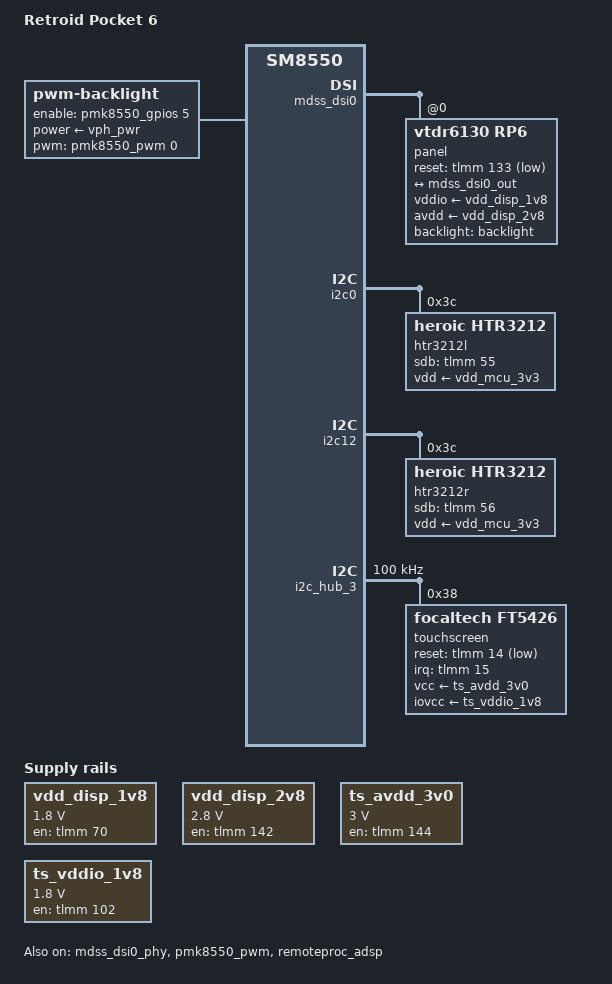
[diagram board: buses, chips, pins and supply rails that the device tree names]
// SPDX-License-Identifier: BSD-3-Clause
/*
 * Copyright (C) 2026-present ROCKNIX (https://github.com/ROCKNIX).
 */

/dts-v1/;

#include "qcs8550-ayn-common.dtsi"

/ {
	model = "Retroid Pocket 6";
	compatible = "retroidpocket,rp6", "qcom,qcs8550", "qcom,sm8550";
	qcom,board-id = <0x1001f 0x00>;
	qcom,msm-id = <0x25b 0x20000>;

	backlight: backlight {
		compatible = "pwm-backlight";
		pwms = <&pmk8550_pwm 0 860000>;
		brightness-levels = <1023 0>;
		num-interpolated-steps = <1023>;
		default-brightness-level = <600>;
		power-supply = <&vph_pwr>;
		enable-gpios = <&pmk8550_gpios 5 GPIO_ACTIVE_HIGH>;
		pinctrl-names = "default";
		pinctrl-0 = <&pwm_backlight_default>;
		status = "okay";
	};

	vdd_disp_1v8: vdd-disp-1v8-regulator {
		compatible = "regulator-fixed";
		regulator-name = "vdd_disp_1v8";

		regulator-min-microvolt = <1800000>;
		regulator-max-microvolt = <1800000>;

		gpio = <&tlmm 70 GPIO_ACTIVE_HIGH>;
		enable-active-high;
	};

	vdd_disp_2v8: vdd-disp-2v8-regulator {
		compatible = "regulator-fixed";
		regulator-name = "vdd_disp_2v8";

		regulator-min-microvolt = <2800000>;
		regulator-max-microvolt = <2800000>;

		gpio = <&tlmm 142 GPIO_ACTIVE_HIGH>;
		enable-active-high;
	};

	ts_avdd_3v0: regulator-ts-avdd-3v0 {
		compatible = "regulator-fixed";
		regulator-name = "ts_avdd_3v0";

		regulator-min-microvolt = <3000000>;
		regulator-max-microvolt = <3000000>;

		gpio = <&tlmm 144 GPIO_ACTIVE_HIGH>;
		enable-active-high;
	};

	ts_vddio_1v8: regulator-ts-vddio-1v8 {
		compatible = "regulator-fixed";
		regulator-name = "ts_vddio_1v8";

		regulator-min-microvolt = <1800000>;
		regulator-max-microvolt = <1800000>;

		gpio = <&tlmm 102 GPIO_ACTIVE_HIGH>;
		enable-active-high;
	};

	multi-ledr1 {
		compatible = "leds-group-multicolor";
		color = <LED_COLOR_ID_RGB>;
		function = "r1";
		leds = <&ledr_r4>, <&ledr_g4>, <&ledr_b4>;
	};

	multi-ledl1 {
		compatible = "leds-group-multicolor";
		color = <LED_COLOR_ID_RGB>;
		function = "l1";
		leds = <&ledl_r4>, <&ledl_g4>, <&ledl_b4>;
	};

	multi-ledr2 {
		compatible = "leds-group-multicolor";
		color = <LED_COLOR_ID_RGB>;
		function = "r2";
		leds = <&ledr_r1>, <&ledr_g1>, <&ledr_b1>;
	};

	multi-ledl2 {
		compatible = "leds-group-multicolor";
		color = <LED_COLOR_ID_RGB>;
		function = "l2";
		leds = <&ledl_r1>, <&ledl_g1>, <&ledl_b1>;
	};

	multi-ledr3 {
		compatible = "leds-group-multicolor";
		color = <LED_COLOR_ID_RGB>;
		function = "r3";
		leds = <&ledr_r2>, <&ledr_g2>, <&ledr_b2>;
	};

	multi-ledl3 {
		compatible = "leds-group-multicolor";
		color = <LED_COLOR_ID_RGB>;
		function = "l3";
		leds = <&ledl_r2>, <&ledl_g2>, <&ledl_b2>;
	};

	multi-ledr4 {
		compatible = "leds-group-multicolor";
		color = <LED_COLOR_ID_RGB>;
		function = "r4";
		leds = <&ledr_r3>, <&ledr_g3>, <&ledr_b3>;
	};

	multi-ledl4 {
		compatible = "leds-group-multicolor";
		color = <LED_COLOR_ID_RGB>;
		function = "l4";
		leds = <&ledl_r3>, <&ledl_g3>, <&ledl_b3>;
	};
};

&gamepad {
	axis-range = <1024>;
};

&{/gpio-keys} {
	pinctrl-0 = <&volume_up_n>, <&paddle_keys_default>;

	key-paddle-left {
		label = "Back Paddle Left";
		debounce-interval = <15>;
		gpios = <&tlmm 57 GPIO_ACTIVE_LOW>;
		linux,code = <BTN_Z>;
	};

	key-paddle-right {
		label = "Back Paddle Right";
		debounce-interval = <15>;
		gpios = <&tlmm 58 GPIO_ACTIVE_LOW>;
		linux,code = <BTN_C>;
	};
};

&tlmm {
	paddle_keys_default: paddle-keys-default-state {
		pins = "gpio57", "gpio58";
		function = "gpio";
		bias-pull-up;
		drive-strength = <2>;
		input-enable;
	};
};

&mdss_dsi0 {
	vdda-supply = <&vreg_l3e_1p2>;
	status = "okay";

	panel@0 {
		reg = <0>;
		compatible = "vtdr6130,rp6";

		pinctrl-0 = <&dsi_p_rst_active>, <&dsi_p_te_active>;
		pinctrl-1 = <&dsi_p_rst_suspend>, <&dsi_p_te_suspend>;
		pinctrl-names = "default", "sleep";

		vddio-supply = <&vdd_disp_1v8>;
		avdd-supply = <&vdd_disp_2v8>;

		reset-gpios = <&tlmm 133 GPIO_ACTIVE_LOW>;

		backlight = <&backlight>;

		rotation = <270>;

		port {
			panel0_in: endpoint {
				remote-endpoint = <&mdss_dsi0_out>;
			};
		};
	};
};

&mdss_dsi0_out {
	remote-endpoint = <&panel0_in>;
	data-lanes = <0 1 2 3>;
};

&mdss_dsi0_phy {
	vdds-supply = <&vreg_l1e_0p88>;
	status = "okay";
};

&mdss_dsi1 {
    status = "disabled";
};

&i2c0 {
	htr3212l: led-controller@3c {
		compatible = "heroic,htr3212";
		reg = <0x3c>;
		#address-cells = <1>;
		#size-cells = <0>;
		sdb-gpios = <&tlmm 55 GPIO_ACTIVE_HIGH>;
		vdd-supply = <&vdd_mcu_3v3>;

		ledl_b1: led@1 {
			reg = <1>;
			label = "l:r1";
			color = <LED_COLOR_ID_RED>;
		};
		ledl_g1: led@2 {
			reg = <2>;
			label = "l:g1";
			color = <LED_COLOR_ID_GREEN>;
		};
		ledl_r1: led@3 {
			reg = <3>;
			label = "l:b1";
			color = <LED_COLOR_ID_BLUE>;
		};
		ledl_b2: led@4 {
			reg = <4>;
			label = "l:r2";
			color = <LED_COLOR_ID_RED>;
		};
		ledl_g2: led@5 {
			reg = <5>;
			label = "l:g2";
			color = <LED_COLOR_ID_GREEN>;
		};
		ledl_r2: led@6 {
			reg = <6>;
			label = "l:b2";
			color = <LED_COLOR_ID_BLUE>;
		};
		ledl_b3: led@7 {
			reg = <7>;
			label = "l:r3";
			color = <LED_COLOR_ID_RED>;
		};
		ledl_g3: led@8 {
			reg = <8>;
			label = "l:g3";
			color = <LED_COLOR_ID_GREEN>;
		};
		ledl_r3: led@9 {
			reg = <9>;
			label = "l:b3";
			color = <LED_COLOR_ID_BLUE>;
		};
		ledl_b4: led@10 {
			reg = <10>;
			label = "l:r4";
			color = <LED_COLOR_ID_RED>;
		};
		ledl_g4: led@11 {
			reg = <11>;
			label = "l:g4";
			color = <LED_COLOR_ID_GREEN>;
		};
		ledl_r4: led@12 {
			reg = <12>;
			label = "l:b4";
			color = <LED_COLOR_ID_BLUE>;
		};
	};
};

&i2c12 {
	htr3212r: led-controller@3c {
		compatible = "heroic,htr3212";
		reg = <0x3c>;
		#address-cells = <1>;
		#size-cells = <0>;
		sdb-gpios = <&tlmm 56 GPIO_ACTIVE_HIGH>;
		vdd-supply = <&vdd_mcu_3v3>;

		ledr_b1: led@1 {
			reg = <1>;
			label = "r:r1";
			color = <LED_COLOR_ID_RED>;
		};
		ledr_g1: led@2 {
			reg = <2>;
			label = "r:g1";
			color = <LED_COLOR_ID_GREEN>;
		};
		ledr_r1: led@3 {
			reg = <3>;
			label = "r:b1";
			color = <LED_COLOR_ID_BLUE>;
		};
		ledr_b2: led@4 {
			reg = <4>;
			label = "r:r2";
			color = <LED_COLOR_ID_RED>;
		};
		ledr_g2: led@5 {
			reg = <5>;
			label = "r:g2";
			color = <LED_COLOR_ID_GREEN>;
		};
		ledr_r2: led@6 {
			reg = <6>;
			label = "r:b2";
			color = <LED_COLOR_ID_BLUE>;
		};
		ledr_b3: led@7 {
			reg = <7>;
			label = "r:r3";
			color = <LED_COLOR_ID_RED>;
		};
		ledr_g3: led@8 {
			reg = <8>;
			label = "r:g3";
			color = <LED_COLOR_ID_GREEN>;
		};
		ledr_r3: led@9 {
			reg = <9>;
			label = "r:b3";
			color = <LED_COLOR_ID_BLUE>;
		};
		ledr_b4: led@10 {
			reg = <10>;
			label = "r:r4";
			color = <LED_COLOR_ID_RED>;
		};
		ledr_g4: led@11 {
			reg = <11>;
			label = "r:g4";
			color = <LED_COLOR_ID_GREEN>;
		};
		ledr_r4: led@12 {
			reg = <12>;
			label = "r:b4";
			color = <LED_COLOR_ID_BLUE>;
		};
	};
};

&i2c_hub_3 {
	clock-frequency = <100000>;
	status = "okay";
	touchscreen@38 {
		compatible = "focaltech,ft5426";
		reg = <0x38>;
		#address-cells = <1>;
		#size-cells = <0>;

		interrupt-parent = <&tlmm>;
		interrupts = <15 IRQ_TYPE_EDGE_FALLING>;
		reset-gpios = <&tlmm 14 GPIO_ACTIVE_LOW>;

		vcc-supply = <&ts_avdd_3v0>;
		iovcc-supply = <&ts_vddio_1v8>;

		pinctrl-0 = <&ts_p_rst_default &ts_p_int_default>;
		pinctrl-1 = <&ts_p_rst_sleep &ts_p_int_sleep>;
		pinctrl-names = "default", "sleep";

		touchscreen-size-x = <1080>;
		touchscreen-size-y = <1920>;
		touchscreen-inverted-y;

		no-regmap-bulk-read;
        };
};

&pmk8550_pwm {
	status = "okay";
};

&remoteproc_adsp {
	firmware-name = "qcom/sm8550/ayn/odin2/adsp.mbn",
			"qcom/sm8550/ayn/odin2/adsp_dtb.mbn";
	status = "okay";
};

&spk_amp_l {
	firmware-name = "qcom/sm8550/ayn/odin2/aw883xx_acf.bin";
};

&spk_amp_r {
	firmware-name = "qcom/sm8550/ayn/odin2/aw883xx_acf.bin";
};
